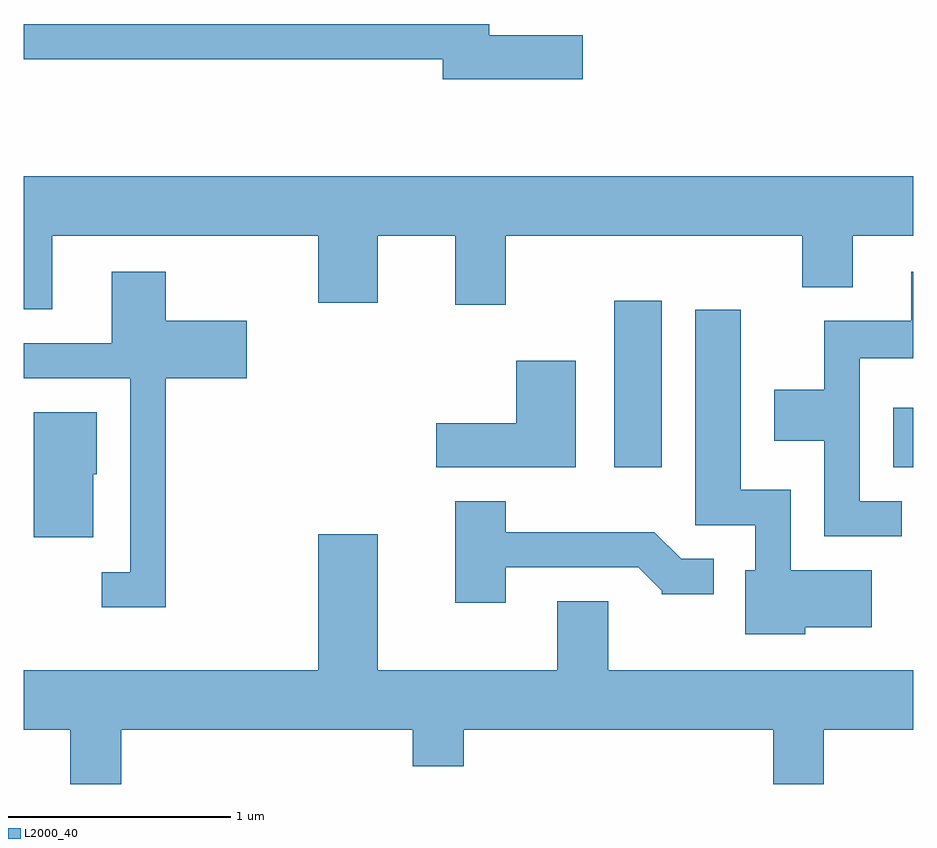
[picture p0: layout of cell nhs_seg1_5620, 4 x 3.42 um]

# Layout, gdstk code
import gdstk
lib = gdstk.Library(unit=1e-6, precision=1e-09)
def R(c, l, rs):  # rectangles x0, y0, x1, y1
    for r in rs: c.add(gdstk.rectangle(r[:2], r[2:], *l))
def P(c, l, *ps):  # polygons
    for p in ps: c.add(gdstk.Polygon(p, *l))
L2000_40 = (2000, 40)

nhs_seg1_5620 = lib.new_cell('nhs_seg1_5620')
R(nhs_seg1_5620, L2000_40, [(356.266,965.136,356.479,965.884), (357.521,965.136,357.611,965.404)])
P(nhs_seg1_5620, L2000_40, [(356.124,967.079),(355.704,967.079),(355.704,967.129),(353.611,967.129),(353.611,966.971),(355.496,966.971),(355.496,966.881),(356.124,966.881)],
  [(353.739,966.176),(354.936,966.176),(354.936,965.876),(355.204,965.876),(355.204,966.176),(355.551,966.176),(355.551,965.866),(355.779,965.866),(355.779,966.176),(357.111,966.176),(357.111,965.946),(357.339,965.946),(357.339,966.176),(357.611,966.176),(357.611,966.444),(353.611,966.444),(353.611,965.846),(353.739,965.846)],
  [(354.249,965.536),(354.614,965.536),(354.614,965.794),(354.249,965.794),(354.249,966.014),(354.006,966.014),(354.006,965.694),(353.611,965.694),(353.611,965.536),(354.091,965.536),(354.091,964.664),(353.963,964.664),(353.963,964.506),(354.249,964.506)],
  [(357.558,964.984),(357.369,964.984),(357.369,965.626),(357.611,965.626),(357.611,966.014),(357.601,966.014),(357.601,965.794),(357.211,965.794),(357.211,965.484),(356.986,965.484),(356.986,965.256),(357.211,965.256),(357.211,964.826),(357.558,964.826)],
  [(357.124,964.416),(357.424,964.416),(357.424,964.674),(357.059,964.674),(357.059,965.034),(356.834,965.034),(356.834,965.844),(356.631,965.844),(356.631,964.876),(356.901,964.876),(356.901,964.674),(356.856,964.674),(356.856,964.386),(357.124,964.386)],
  [(356.094,965.614),(355.826,965.614),(355.826,965.334),(355.466,965.334),(355.466,965.136),(356.094,965.136)],
  [(353.924,965.105),(353.939,965.105),(353.939,965.384),(353.656,965.384),(353.656,964.821),(353.924,964.821)],
  [(355.779,964.686),(356.374,964.686),(356.48,964.58),(356.48,964.566),(356.713,964.566),(356.713,964.724),(356.567,964.724),(356.447,964.844),(355.779,964.844),(355.779,964.984),(355.551,964.984),(355.551,964.526),(355.779,964.526)],
  [(354.049,963.956),(355.361,963.956),(355.361,963.791),(355.589,963.791),(355.589,963.956),(356.981,963.956),(356.981,963.712),(357.209,963.712),(357.209,963.956),(357.611,963.956),(357.611,964.224),(356.239,964.224),(356.239,964.534),(356.011,964.534),(356.011,964.224),(355.204,964.224),(355.204,964.834),(354.936,964.834),(354.936,964.224),(353.611,964.224),(353.611,963.956),(353.821,963.956),(353.821,963.712),(354.049,963.712)])

lib.write_gds('nhs_seg1_5620.gds')
